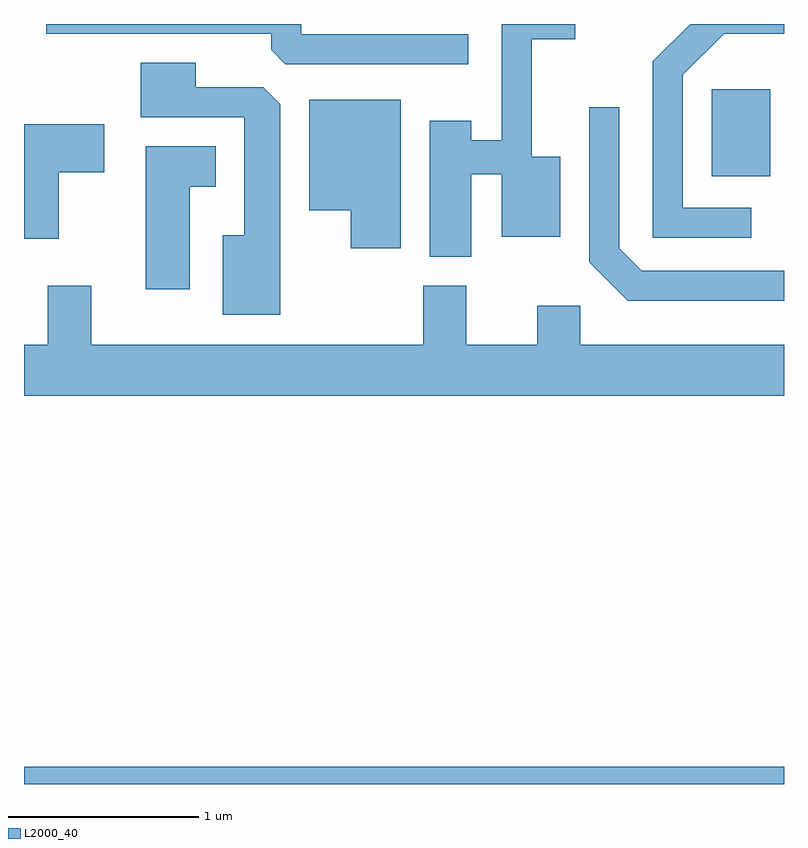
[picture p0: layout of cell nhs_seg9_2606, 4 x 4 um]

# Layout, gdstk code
import gdstk
lib = gdstk.Library(unit=1e-6, precision=1e-09)
def R(c, l, rs):  # rectangles x0, y0, x1, y1
    for r in rs: c.add(gdstk.rectangle(r[:2], r[2:], *l))
def P(c, l, *ps):  # polygons
    for p in ps: c.add(gdstk.Polygon(p, *l))
L2000_40 = (2000, 40)

nhs_seg9_2606 = lib.new_cell('nhs_seg9_2606')
R(nhs_seg9_2606, L2000_40, [(261.611,1996.432,265.611,1996.524), (265.231,1999.631,265.539,2000.089)])
P(nhs_seg9_2606, L2000_40, [(265.438,1999.464),(265.079,1999.464),(265.079,2000.164),(265.297,2000.381),(265.611,2000.381),(265.611,2000.432),(265.117,2000.432),(264.921,2000.237),(264.921,1999.306),(265.438,1999.306)],
  [(263.948,2000.379),(263.069,2000.379),(263.069,2000.432),(261.728,2000.432),(261.728,2000.381),(262.911,2000.381),(262.911,2000.297),(262.987,2000.221),(263.948,2000.221)],
  [(263.964,1999.641),(264.126,1999.641),(264.126,1999.311),(264.434,1999.311),(264.434,1999.734),(264.284,1999.734),(264.284,2000.351),(264.513,2000.351),(264.513,2000.432),(264.126,2000.432),(264.126,1999.819),(263.964,1999.819),(263.964,1999.924),(263.746,1999.924),(263.746,1999.206),(263.964,1999.206)],
  [(262.959,2000.009),(262.869,2000.099),(262.514,2000.099),(262.514,2000.229),(262.226,2000.229),(262.226,1999.941),(262.771,1999.941),(262.771,1999.319),(262.656,1999.319),(262.656,1998.901),(262.959,1998.901)],
  [(263.594,2000.034),(263.111,2000.034),(263.111,1999.451),(263.331,1999.451),(263.331,1999.251),(263.594,1999.251)],
  [(265.611,1999.134),(264.862,1999.134),(264.744,1999.252),(264.744,1999.993),(264.586,1999.993),(264.586,1999.179),(264.789,1998.976),(265.611,1998.976)],
  [(261.794,1999.651),(262.034,1999.651),(262.034,1999.904),(261.611,1999.904),(261.611,1999.301),(261.794,1999.301)],
  [(262.484,1999.576),(262.619,1999.576),(262.619,1999.789),(262.251,1999.789),(262.251,1999.036),(262.484,1999.036)],
  [(265.611,1998.744),(264.539,1998.744),(264.539,1998.949),(264.311,1998.949),(264.311,1998.744),(263.939,1998.744),(263.939,1999.054),(263.711,1999.054),(263.711,1998.744),(261.964,1998.744),(261.964,1999.054),(261.736,1999.054),(261.736,1998.744),(261.611,1998.744),(261.611,1998.476),(265.611,1998.476)])

lib.write_gds('nhs_seg9_2606.gds')
